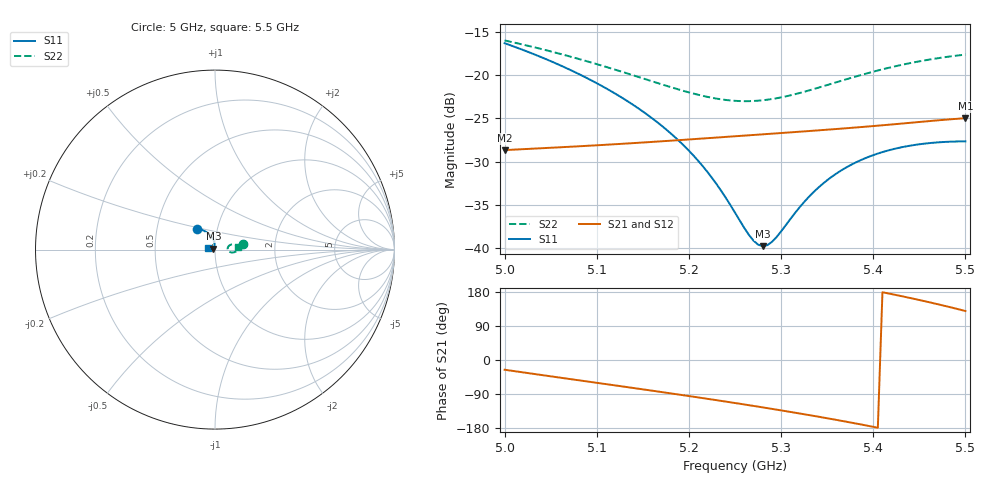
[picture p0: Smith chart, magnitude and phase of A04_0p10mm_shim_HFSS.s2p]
! Touchstone file from project Antenna
! Exported from HFSS 2018.0.0
# GHZ S RI R 50.000000
! Modal data exported
! Port[1] = J1:1
! Port[2] = J2:1
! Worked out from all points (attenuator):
!   101 points, 5 GHz to 5.5 GHz, reference 50 ohm
!   highest |S21| = -24.99 dB at 5.5 GHz (marker M1); lowest = -28.7 dB at 5 GHz (marker M2)
!   lowest |S11| = -39.8 dB at 5.28 GHz (marker M3), VSWR 1.02, Z = 49.2 + j0.556 ohm
!   |S11| at or under -10 dB: start of sweep to end of sweep
!   |S22| runs from -23.0 to -16.0 dB; largest |S21 - S12| = 3.1e-16
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5  -0.0998 0.1158  0.0332 -0.016  0.0332 -0.016  0.1552 0.0325
5.045  -0.064 0.1057  0.0284 -0.025  0.0284 -0.025  0.1391 0.00653
5.085  -0.0385 0.0909  0.0222 -0.0318  0.0222 -0.0318  0.1217 -0.00823
5.13  -0.018 0.0702  0.0134 -0.0378  0.0134 -0.0378  0.1022 -0.0156
5.17  -0.00711 0.0506  0.00399 -0.0412  0.00399 -0.0412  0.0873 -0.015
5.195  -0.00369 0.0387  -0.00246 -0.0422  -0.00246 -0.0422  0.0799 -0.0117
5.215  -0.0027 0.0296  -0.00787 -0.0422  -0.00787 -0.0422  0.0754 -0.00787
5.23  -0.00289 0.0232  -0.012 -0.0418  -0.012 -0.0418  0.0729 -0.00441
5.25  -0.0043 0.0154  -0.0177 -0.0406  -0.0177 -0.0406  0.071 0.000743
5.27  -0.00688 0.00862  -0.0233 -0.0385  -0.0233 -0.0385  0.0705 0.00625
5.275  -0.00768 0.0071  -0.0247 -0.0379  -0.0247 -0.0379  0.0707 0.00765
5.28  -0.00853 0.00566  -0.0261 -0.0372  -0.0261 -0.0372  0.0709 0.00904
5.285  -0.00944 0.00429  -0.0274 -0.0364  -0.0274 -0.0364  0.0713 0.0104
5.295  -0.0114 0.0018  -0.0301 -0.0348  -0.0301 -0.0348  0.0722 0.0131
5.32  -0.0169 -0.00294  -0.0366 -0.0296  -0.0366 -0.0296  0.0763 0.0194
5.335  -0.0204 -0.00474  -0.0401 -0.0257  -0.0401 -0.0257  0.0797 0.0227
5.355  -0.0251 -0.00593  -0.0443 -0.0198  -0.0443 -0.0198  0.0853 0.0261
5.375  -0.0295 -0.00584  -0.0477 -0.013  -0.0477 -0.013  0.0917 0.0283
5.395  -0.0333 -0.00465  -0.0502 -0.00528  -0.0502 -0.00528  0.0986 0.0292
5.42  -0.037 -0.00201  -0.0515 0.00551  -0.0515 0.00551  0.1075 0.0285
5.455  -0.04 0.0029  -0.049 0.0222  -0.049 0.0222  0.119 0.0241
5.5  -0.0403 0.00945  -0.0356 0.0436  -0.0356 0.0436  0.1305 0.0146
